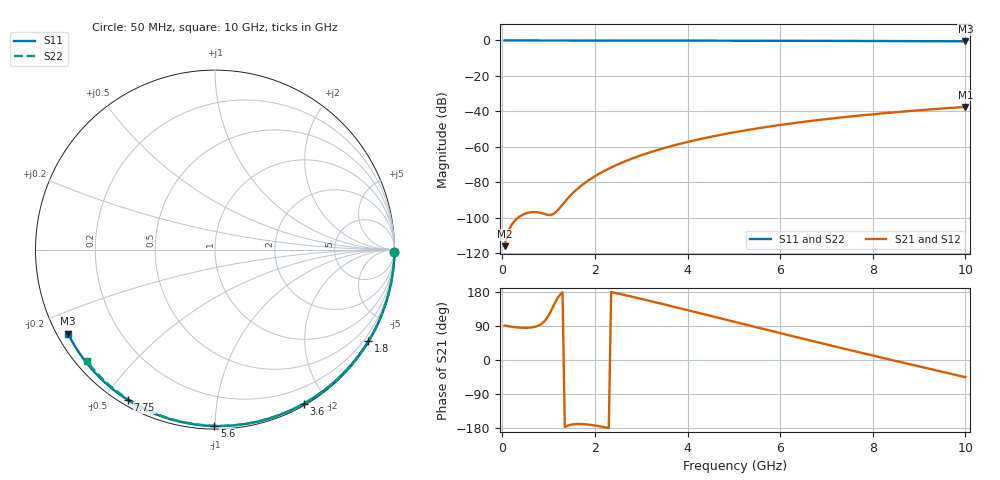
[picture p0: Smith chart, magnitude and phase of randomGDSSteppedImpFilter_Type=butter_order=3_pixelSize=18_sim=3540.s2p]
! freq	dB(S11)	phase(S11)	dB(S12)	phase(S12)
!  dB(S21)	phase(S21)	dB(S22)	phase(S22)
!S-par simulation data
#  GHz  S  DB  R 50
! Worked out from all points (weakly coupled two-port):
!   200 points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, 50 MHz to 10 GHz, reference 50 ohm
!   highest |S21| = -37.42 dB at 10 GHz (marker M1); lowest = -115.9 dB at 50 MHz (marker M2)
!   lowest |S11| = -0.5 dB at 10 GHz (marker M3), VSWR 34.24, Z = 1.56 - j13.3 ohm
!   |S11| at or under -10 dB: nowhere
!   |S22| runs from -0.5 to 0.0 dB; largest |S21 - S12| = 0
!   S11 on the Smith chart (normalised r, x): 50 MHz: open; 1.8 GHz: 0.03, -3.62; 3.6 GHz: 0.02, -1.73; 5.6 GHz: 0.02, -1.00; 7.75 GHz: 0.02, -0.58; 10 GHz: 0.03, -0.27
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0.05  -0.00 -0.9  -115.90 90.9  -115.90 90.9  -0.00 -0.8
0.45  -0.01 -7.8  -98.08 85.1  -98.08 85.1  -0.01 -7.2
0.9  -0.02 -15.6  -97.67 101.0  -97.67 101.0  -0.02 -14.4
1.3  -0.03 -22.4  -92.40 178.7  -92.40 178.7  -0.03 -20.7
1.75  -0.04 -30.0  -80.90 -169.3  -80.90 -169.3  -0.04 -27.7
1.8  -0.04 -30.9  -79.93 -169.8  -79.93 -169.8  -0.04 -28.5
1.95  -0.04 -33.4  -77.29 -172.0  -77.29 -172.0  -0.04 -30.8
2.1  -0.05 -35.9  -74.96 -174.9  -74.96 -174.9  -0.04 -33.1
2.3  -0.05 -39.2  -72.21 -179.5  -72.21 -179.5  -0.05 -36.2
2.5  -0.05 -42.5  -69.77 175.3  -69.77 175.3  -0.05 -39.2
2.9  -0.06 -49.0  -65.60 164.3  -65.60 164.3  -0.06 -45.3
3.4  -0.08 -57.0  -61.35 149.6  -61.35 149.6  -0.07 -52.7
3.6  -0.08 -60.1  -59.86 143.6  -59.86 143.6  -0.07 -55.6
4.3  -0.10 -71.0  -55.40 122.4  -55.40 122.4  -0.09 -65.7
5.05  -0.13 -82.2  -51.54 99.6  -51.54 99.6  -0.12 -76.2
5.6  -0.15 -90.2  -49.15 83.0  -49.15 83.0  -0.14 -83.6
6.15  -0.18 -98.1  -47.06 66.4  -47.06 66.4  -0.16 -90.9
6.7  -0.21 -105.8  -45.21 50.0  -45.21 50.0  -0.19 -98.1
7.75  -0.28 -120.1  -42.22 19.1  -42.22 19.1  -0.26 -111.4
8.35  -0.33 -128.1  -40.76 1.7  -40.76 1.7  -0.30 -118.8
9.2  -0.41 -139.5  -38.93 -22.6  -38.93 -22.6  -0.39 -129.1
10  -0.51 -150.2  -37.42 -45.3  -37.42 -45.3  -0.48 -138.8
